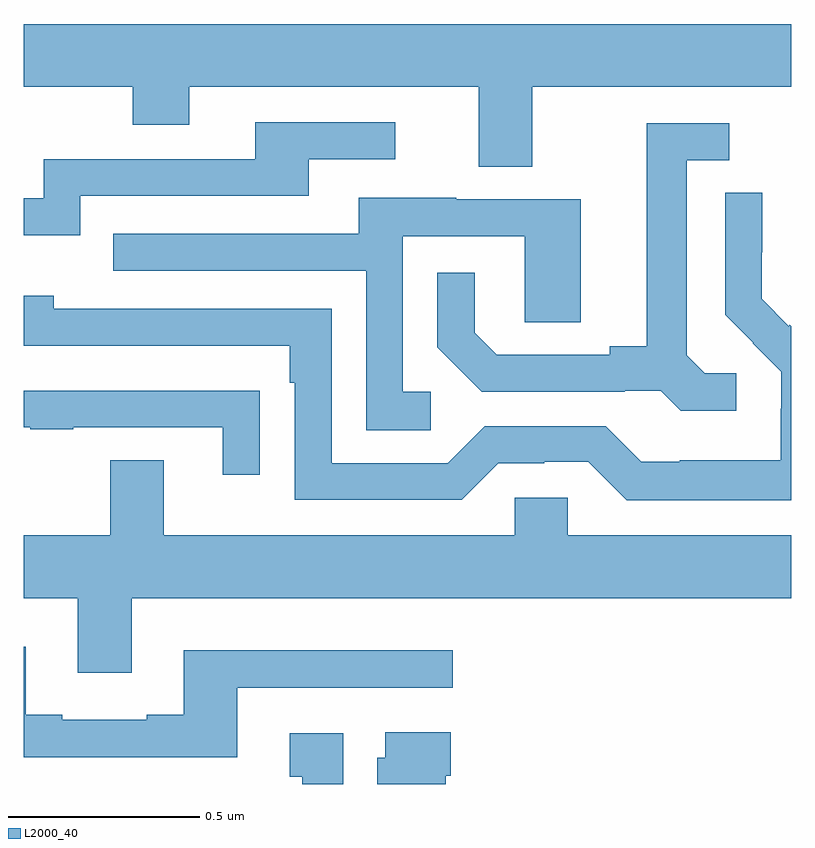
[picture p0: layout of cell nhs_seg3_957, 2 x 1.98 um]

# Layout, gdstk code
import gdstk
lib = gdstk.Library(unit=1e-6, precision=1e-09)
def P(c, l, *ps):  # polygons
    for p in ps: c.add(gdstk.Polygon(p, *l))
L2000_40 = (2000, 40)

nhs_seg3_957 = lib.new_cell('nhs_seg3_957')
P(nhs_seg3_957, L2000_40, [(123.325,734.216),(124,734.216),(124,734.38),(122,734.38),(122,734.216),(122.284,734.216),(122.284,734.117),(122.431,734.117),(122.431,734.216),(123.185,734.216),(123.185,734.008),(123.325,734.008)],
  [(122.148,733.932),(122.743,733.932),(122.743,734.028),(122.968,734.028),(122.968,734.124),(122.603,734.124),(122.603,734.028),(122.052,734.028),(122.052,733.926),(122,733.926),(122,733.829),(122.148,733.829)],
  [(123.856,733.47),(123.774,733.47),(123.727,733.517),(123.727,734.025),(123.838,734.025),(123.838,734.121),(123.623,734.121),(123.623,733.541),(123.527,733.541),(123.527,733.518),(123.232,733.518),(123.175,733.575),(123.175,733.732),(123.078,733.732),(123.078,733.538),(123.194,733.422),(123.566,733.422),(123.566,733.425),(123.66,733.425),(123.712,733.373),(123.856,733.373)],
  [(124,733.592),(123.996,733.596),(123.993,733.593),(123.923,733.664),(123.923,733.786),(123.924,733.786),(123.924,733.94),(123.828,733.94),(123.828,733.622),(123.901,733.549),(123.9,733.548),(123.974,733.474),(123.974,733.377),(123.972,733.377),(123.972,733.243),(123.709,733.243),(123.709,733.239),(123.609,733.239),(123.516,733.332),(123.201,733.332),(123.105,733.236),(122.802,733.236),(122.802,733.638),(122.078,733.638),(122.078,733.672),(122,733.672),(122,733.542),(122.693,733.542),(122.693,733.445),(122.706,733.445),(122.706,733.14),(123.141,733.14),(123.237,733.236),(123.356,733.236),(123.356,733.239),(123.471,733.239),(123.571,733.139),(124,733.139)],
  [(123.061,733.422),(122.988,733.422),(122.988,733.827),(123.306,733.827),(123.306,733.603),(123.451,733.603),(123.451,733.923),(123.127,733.923),(123.127,733.927),(122.873,733.927),(122.873,733.833),(122.233,733.833),(122.233,733.737),(122.892,733.737),(122.892,733.321),(123.061,733.321)],
  [(122.615,733.424),(122.513,733.424),(122.513,733.425),(122,733.425),(122,733.329),(122.017,733.329),(122.017,733.324),(122.129,733.324),(122.129,733.329),(122.519,733.329),(122.519,733.206),(122.615,733.206)],
  [(122.281,732.884),(124,732.884),(124,733.048),(123.417,733.048),(123.417,733.146),(123.279,733.146),(123.279,733.048),(122.365,733.048),(122.365,733.243),(122.225,733.243),(122.225,733.048),(122,733.048),(122,732.884),(122.141,732.884),(122.141,732.69),(122.281,732.69)],
  [(122.557,732.651),(123.118,732.651),(123.118,732.748),(122.417,732.748),(122.417,732.58),(122.321,732.58),(122.321,732.567),(122.101,732.567),(122.101,732.58),(122.005,732.58),(122.005,732.757),(122,732.757),(122,732.47),(122.557,732.47)],
  [(123.1,732.422),(123.113,732.422),(123.113,732.535),(122.942,732.535),(122.942,732.468),(122.921,732.468),(122.921,732.4),(123.1,732.4)],
  [(122.833,732.532),(122.693,732.532),(122.693,732.419),(122.726,732.419),(122.726,732.4),(122.833,732.4)])

lib.write_gds('nhs_seg3_957.gds')
